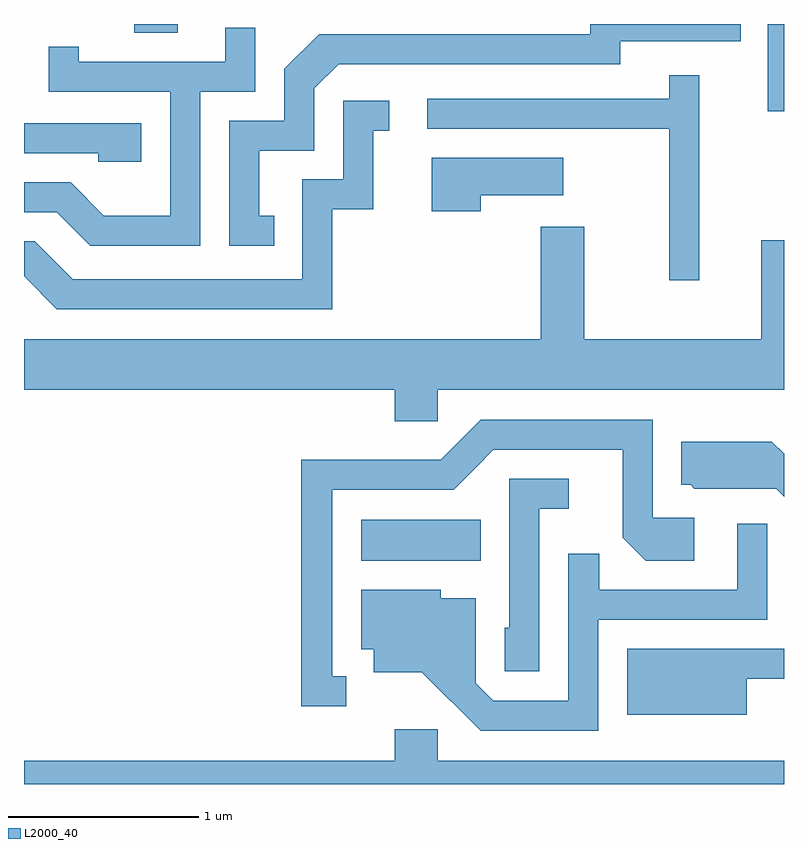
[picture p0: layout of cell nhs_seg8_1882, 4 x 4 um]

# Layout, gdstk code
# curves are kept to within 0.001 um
import gdstk
lib = gdstk.Library(unit=1e-6, precision=1e-09)
def R(c, l, rs):  # rectangles x0, y0, x1, y1
    for r in rs: c.add(gdstk.rectangle(r[:2], r[2:], *l))
def P(c, l, *ps):  # polygons
    for p in ps: c.add(gdstk.Polygon(p, *l))
L2000_40 = (2000, 40)

nhs_seg8_1882 = lib.new_cell('nhs_seg8_1882')
R(nhs_seg8_1882, L2000_40, [(243.386,1835.516,244.014,1835.734), (245.526,1837.883,245.611,1838.342), (242.191,1838.296,242.419,1838.342)])
P(nhs_seg8_1882, L2000_40, [(242.928,1837.334),(242.849,1837.334),(242.849,1837.676),(243.139,1837.676),(243.139,1838.004),(243.267,1838.131),(244.749,1838.131),(244.749,1838.251),(245.383,1838.251),(245.383,1838.342),(244.591,1838.342),(244.591,1838.289),(243.164,1838.289),(242.981,1838.107),(242.981,1837.834),(242.691,1837.834),(242.691,1837.176),(242.928,1837.176)],
  [(242.539,1837.986),(242.829,1837.986),(242.829,1838.323),(242.671,1838.323),(242.671,1838.144),(241.899,1838.144),(241.899,1838.223),(241.741,1838.223),(241.741,1837.986),(242.381,1837.986),(242.381,1837.334),(242.032,1837.334),(241.857,1837.509),(241.611,1837.509),(241.611,1837.351),(241.784,1837.351),(241.959,1837.176),(242.539,1837.176)],
  [(245.164,1838.073),(245.006,1838.073),(245.006,1837.949),(243.733,1837.949),(243.733,1837.791),(245.006,1837.791),(245.006,1836.993),(245.164,1836.993)],
  [(243.234,1837.366),(243.449,1837.366),(243.449,1837.781),(243.533,1837.781),(243.533,1837.939),(243.291,1837.939),(243.291,1837.524),(243.076,1837.524),(243.076,1836.999),(241.867,1836.999),(241.667,1837.199),(241.611,1837.199),(241.611,1837.014),(241.784,1836.841),(243.234,1836.841)],
  [(242.229,1837.819),(241.611,1837.819),(241.611,1837.661),(242.001,1837.661),(242.001,1837.616),(242.229,1837.616)],
  [(244.014,1837.441),(244.449,1837.441),(244.449,1837.639),(243.756,1837.639),(243.756,1837.356),(244.014,1837.356)],
  [(243.789,1836.416),(245.611,1836.416),(245.611,1837.204),(245.491,1837.204),(245.491,1836.684),(244.559,1836.684),(244.559,1837.274),(244.331,1837.274),(244.331,1836.684),(241.611,1836.684),(241.611,1836.416),(243.561,1836.416),(243.561,1836.251),(243.789,1836.251)],
  [(243.308,1834.909),(243.234,1834.909),(243.234,1835.891),(243.872,1835.891),(244.082,1836.101),(244.761,1836.101),(244.761,1835.639),(244.884,1835.516),(245.139,1835.516),(245.139,1835.744),(244.919,1835.744),(244.919,1836.259),(244.014,1836.259),(243.804,1836.049),(243.071,1836.049),(243.071,1834.751),(243.308,1834.751)],
  [(245.611,1836.08),(245.547,1836.144),(245.071,1836.144),(245.071,1835.916),(245.119,1835.916),(245.139,1835.896),(245.569,1835.896),(245.611,1835.854)],
  [(244.324,1835.791),(244.478,1835.791),(244.478,1835.949),(244.166,1835.949),(244.166,1835.164),(244.141,1835.164),(244.141,1834.936),(244.324,1834.936)],
  [(244.634,1835.206),(245.524,1835.206),(245.524,1835.713),(245.366,1835.713),(245.366,1835.364),(244.639,1835.364),(244.639,1835.553),(244.476,1835.553),(244.476,1834.779),(244.082,1834.779),(243.989,1834.872),(243.989,1835.319),(243.804,1835.319),(243.804,1835.364),(243.386,1835.364),(243.386,1835.051),(243.451,1835.051),(243.451,1834.931),(243.704,1834.931),(244.014,1834.621),(244.634,1834.621)],
  [(245.414,1834.896),(245.611,1834.896),(245.611,1835.054),(244.786,1835.054),(244.786,1834.706),(245.414,1834.706)],
  [(245.611,1834.464),(243.789,1834.464),(243.789,1834.629),(243.561,1834.629),(243.561,1834.464),(241.611,1834.464),(241.611,1834.342),(245.611,1834.342)])

lib.write_gds('nhs_seg8_1882.gds')
